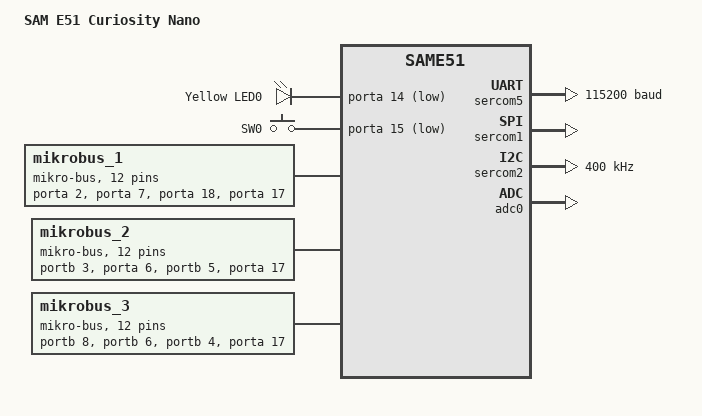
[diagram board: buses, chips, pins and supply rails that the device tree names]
/*
 * SAM E51 Curiosity Nano (EV76S68A, ATSAME51J20A) on the
 * Curiosity Nano Base for Click boards (AC164162).
 *
 * Sources:
 *  - SAM E51 Curiosity Nano User Guide, DS70005432B: fig. 4-1 (pinout),
 *    fig. 4-2 (Curiosity Nano Base quick reference), sec. 4.2 (LED0 PA14,
 *    SW0 PA15, both active low), 32.768 kHz crystal.
 *  - Curiosity Nano Base for Click boards User Guide, 50002839B.
 *
 * SPDX-License-Identifier: Apache-2.0
 */

/dts-v1/;
#include <atmel/same5xx20.dtsi>
#include "same51_cnano-pinctrl.dtsi"
#include <zephyr/dt-bindings/input/input-event-codes.h>

/ {
	model = "SAM E51 Curiosity Nano";
	compatible = "microchip,same51-cnano", "atmel,same51j20a", "atmel,same51";

	chosen {
		zephyr,console = &sercom5;
		zephyr,shell-uart = &sercom5;
		zephyr,sram = &sram0;
		zephyr,flash = &flash0;
		zephyr,code-partition = &slot0_partition;
	};

	aliases {
		led0 = &led0;
		sw0 = &button0;
		i2c-0 = &sercom2;
		spi-0 = &sercom1;
	};

	leds {
		compatible = "gpio-leds";
		led0: led_0 {
			gpios = <&porta 14 GPIO_ACTIVE_LOW>;
			label = "Yellow LED0";
		};
	};

	buttons {
		compatible = "gpio-keys";
		button0: button_0 {
			gpios = <&porta 15 (GPIO_PULL_UP | GPIO_ACTIVE_LOW)>;
			label = "SW0";
			zephyr,code = <INPUT_KEY_0>;
		};
	};

	/*
	 * The three mikroBUS sockets of the AC164162 base (DS70005432B fig. 4-2).
	 * Nexus pin numbers follow dts/bindings/gpio/mikro-bus.yaml:
	 *  0 AN, 1 RST, 2 CS, 3 SCK, 4 MISO, 5 MOSI, 6 PWM, 7 INT, 8 RX, 9 TX, 10 SCL, 11 SDA
	 * SCK/MISO/MOSI (SERCOM1), SCL/SDA (SERCOM2) are shared by all slots;
	 * RX/TX of slots 1 and 3 are the same pins (SERCOM4).
	 */
	mikrobus_1: mikrobus-connector-1 {
		compatible = "mikro-bus";
		#gpio-cells = <2>;
		gpio-map-mask = <0xffffffff 0xffffffc0>;
		gpio-map-pass-thru = <0 0x3f>;
		gpio-map = <0 0 &porta 2 0>,	/* AN   PA2  */
			   <1 0 &porta 7 0>,	/* RST  PA7  */
			   <2 0 &porta 18 0>,	/* CS   PA18 */
			   <3 0 &porta 17 0>,	/* SCK  PA17 */
			   <4 0 &porta 19 0>,	/* MISO PA19 */
			   <5 0 &porta 16 0>,	/* MOSI PA16 */
			   <6 0 &porta 10 0>,	/* PWM  PA10 */
			   <7 0 &porta 4 0>,	/* INT  PA4  */
			   <8 0 &portb 13 0>,	/* RX   PB13 */
			   <9 0 &portb 12 0>,	/* TX   PB12 */
			   <10 0 &porta 13 0>,	/* SCL  PA13 */
			   <11 0 &porta 12 0>;	/* SDA  PA12 */
	};

	mikrobus_2: mikrobus-connector-2 {
		compatible = "mikro-bus";
		#gpio-cells = <2>;
		gpio-map-mask = <0xffffffff 0xffffffc0>;
		gpio-map-pass-thru = <0 0x3f>;
		gpio-map = <0 0 &portb 3 0>,	/* AN   PB3  */
			   <1 0 &porta 6 0>,	/* RST  PA6  */
			   <2 0 &portb 5 0>,	/* CS   PB5  */
			   <3 0 &porta 17 0>,	/* SCK  PA17 */
			   <4 0 &porta 19 0>,	/* MISO PA19 */
			   <5 0 &porta 16 0>,	/* MOSI PA16 */
			   <6 0 &porta 11 0>,	/* PWM  PA11 */
			   <7 0 &portb 14 0>,	/* INT  PB14 */
			   <8 0 &porta 9 0>,	/* RX   PA9  */
			   <9 0 &porta 8 0>,	/* TX   PA8  */
			   <10 0 &porta 13 0>,	/* SCL  PA13 */
			   <11 0 &porta 12 0>;	/* SDA  PA12 */
	};

	mikrobus_3: mikrobus-connector-3 {
		compatible = "mikro-bus";
		#gpio-cells = <2>;
		gpio-map-mask = <0xffffffff 0xffffffc0>;
		gpio-map-pass-thru = <0 0x3f>;
		gpio-map = <0 0 &portb 8 0>,	/* AN   PB8  */
			   <1 0 &portb 6 0>,	/* RST  PB6  */
			   <2 0 &portb 4 0>,	/* CS   PB4  */
			   <3 0 &porta 17 0>,	/* SCK  PA17 */
			   <4 0 &porta 19 0>,	/* MISO PA19 */
			   <5 0 &porta 16 0>,	/* MOSI PA16 */
			   <6 0 &portb 9 0>,	/* PWM  PB9  */
			   <7 0 &portb 7 0>,	/* INT  PB7  */
			   <8 0 &portb 13 0>,	/* RX   PB13 */
			   <9 0 &portb 12 0>,	/* TX   PB12 */
			   <10 0 &porta 13 0>,	/* SCL  PA13 */
			   <11 0 &porta 12 0>;	/* SDA  PA12 */
	};
};

&cpu0 {
	clock-frequency = <120000000>;
};

/* Console on the nEDBG CDC (/dev/ttyACM0 on Linux) */
&sercom5 {
	status = "okay";
	compatible = "atmel,sam0-uart";
	current-speed = <115200>;
	rxpo = <1>;
	txpo = <0>;
	pinctrl-0 = <&sercom5_uart_default>;
	pinctrl-names = "default";
};

/*
 * Shared mikroBUS SPI. cs-gpios index = slot - 1, so a click in slot N is
 * the child with reg = <N-1>. Listing all three CS lines keeps the CS of
 * empty or other-function slots driven inactive (high).
 */
mikrobus_spi: &sercom1 {
	status = "okay";
	compatible = "atmel,sam0-spi";
	dipo = <3>;
	dopo = <0>;
	#address-cells = <1>;
	#size-cells = <0>;
	cs-gpios = <&porta 18 GPIO_ACTIVE_LOW>,	/* slot 1 CS PA18 */
		   <&portb 5 GPIO_ACTIVE_LOW>,	/* slot 2 CS PB5  */
		   <&portb 4 GPIO_ACTIVE_LOW>;	/* slot 3 CS PB4  */
	pinctrl-0 = <&sercom1_spi_default>;
	pinctrl-names = "default";
};

/*
 * Shared mikroBUS I2C. Must be FAST (400 kHz): i2c_sam0 derives BAUD from the
 * 120 MHz GCLK0, and 100 kHz needs BAUD 592 > 255, so init fails with -ERANGE
 * and the first transfer then blocks forever on an uninitialised semaphore.
 */
mikrobus_i2c: &sercom2 {
	status = "okay";
	compatible = "atmel,sam0-i2c";
	clock-frequency = <I2C_BITRATE_FAST>;
	#address-cells = <1>;
	#size-cells = <0>;
	pinctrl-0 = <&sercom2_i2c_default>;
	pinctrl-names = "default";
};

/* mikroBUS UART of slots 1 and 3 (same pins). Disabled: enable in an overlay. */
mikrobus_13_serial: &sercom4 {
	status = "disabled";
	compatible = "atmel,sam0-uart";
	current-speed = <115200>;
	rxpo = <1>;
	txpo = <0>;
	pinctrl-0 = <&sercom4_uart_default>;
	pinctrl-names = "default";
};

/* mikroBUS UART of slot 2. Disabled: enable in an overlay. */
mikrobus_2_serial: &sercom0 {
	status = "disabled";
	compatible = "atmel,sam0-uart";
	current-speed = <115200>;
	rxpo = <1>;
	txpo = <0>;
	pinctrl-0 = <&sercom0_uart_default>;
	pinctrl-names = "default";
};

/*
 * mikroBUS PWM for slots 1 (TCC0 ch 2) and 2 (TCC0 ch 3). Disabled: an
 * overlay sets status = "okay" and picks tcc0_mikrobus_{1,2,12}_pwm.
 */
mikrobus_pwm: &tcc0 {
	status = "disabled";
	compatible = "atmel,sam0-tcc-pwm";
	prescaler = <8>;
	#pwm-cells = <2>;
	pinctrl-0 = <&tcc0_mikrobus_12_pwm>;
	pinctrl-names = "default";
};

&adc0 {
	status = "okay";
};

&flash0 {
	partitions {
		compatible = "fixed-partitions";
		#address-cells = <1>;
		#size-cells = <1>;

		/*
		 * 1 MiB, 8 KiB erase blocks. MCUboot + two equal image slots so a node can be
		 * updated over the network (mcumgr SMP/UDP), then 16 KiB settings at the end.
		 * Builds without MCUboot ignore the layout and link at 0 as before.
		 */
		boot_partition: partition@0 {
			label = "mcuboot";
			reg = <0x00000000 0x00010000>;
		};
		slot0_partition: partition@10000 {
			label = "image-0";
			reg = <0x00010000 0x00076000>;
		};
		slot1_partition: partition@86000 {
			label = "image-1";
			reg = <0x00086000 0x00076000>;
		};
		/* settings/NVS (PLCA node id, count, IP) */
		storage_partition: partition@fc000 {
			label = "storage";
			reg = <0x000fc000 0x00004000>;
		};
	};
};

/*
 * Per-slot labels so a click overlay can say &mikrobus_2_spi, &mikrobus_3_i2c,
 * &mikrobus_1_serial ... without knowing which SERCOM sits behind the slot.
 */
mikrobus_1_spi: &sercom1 {};
mikrobus_2_spi: &sercom1 {};
mikrobus_3_spi: &sercom1 {};
mikrobus_1_i2c: &sercom2 {};
mikrobus_2_i2c: &sercom2 {};
mikrobus_3_i2c: &sercom2 {};
mikrobus_1_serial: &sercom4 {};
mikrobus_3_serial: &sercom4 {};
